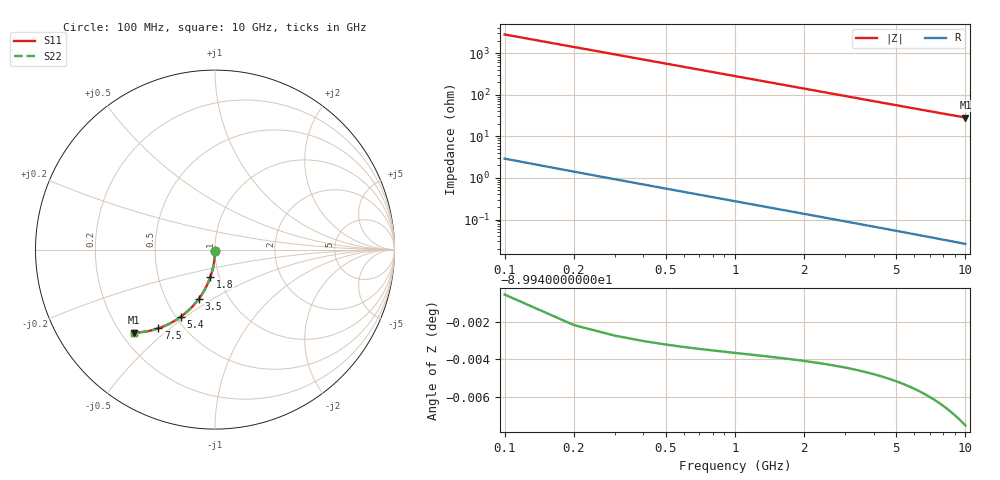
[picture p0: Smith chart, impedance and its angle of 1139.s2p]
# Hz S RI R 50.00
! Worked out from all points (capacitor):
!   100 points, 100 MHz to 10 GHz, reference 50 ohm
!   read as one part in shunt: C = 568 fF near 100 MHz
!   lowest |Z| = 28.3 ohm at 10 GHz (marker M1)
!   S11 on the Smith chart (normalised r, x): 100 MHz: 1.00, -0.02; 1.8 GHz: 0.91, -0.28; 3.5 GHz: 0.73, -0.43; 5.4 GHz: 0.53, -0.48; 7.5 GHz: 0.37, -0.46; 10 GHz: 0.25, -0.40
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1e8  -1.89e-05 -0.00859  0.9998 -0.00926  0.9998 -0.00926  -1.89e-05 -0.00859
2e8  -0.000266 -0.0172  0.9996 -0.0185  0.9996 -0.0185  -0.000266 -0.0172
3e8  -0.000672 -0.0258  0.9992 -0.0278  0.9992 -0.0278  -0.000672 -0.0258
4e8  -0.00124 -0.0343  0.9986 -0.037  0.9986 -0.037  -0.00124 -0.0343
5e8  -0.00196 -0.0429  0.9979 -0.0462  0.9979 -0.0462  -0.00196 -0.0429
6e8  -0.00284 -0.0514  0.997 -0.0554  0.997 -0.0554  -0.00284 -0.0514
8e8  -0.00507 -0.0684  0.9948 -0.0738  0.9948 -0.0738  -0.00507 -0.0684
1.1e9  -0.00958 -0.0937  0.9902 -0.101  0.9902 -0.101  -0.00958 -0.0937
1.4e9  -0.0154 -0.1185  0.9844 -0.1279  0.9844 -0.1279  -0.0154 -0.1185
1.8e9  -0.0253 -0.1509  0.9745 -0.163  0.9745 -0.163  -0.0253 -0.1509
2.1e9  -0.0342 -0.1744  0.9656 -0.1885  0.9656 -0.1885  -0.0342 -0.1744
2.5e9  -0.0478 -0.2047  0.9519 -0.2215  0.9519 -0.2215  -0.0478 -0.2047
2.9e9  -0.0633 -0.2336  0.9363 -0.2531  0.9363 -0.2531  -0.0633 -0.2336
3.4e9  -0.0852 -0.2674  0.9144 -0.2904  0.9144 -0.2904  -0.0852 -0.2674
3.5e9  -0.0898 -0.2739  0.9098 -0.2975  0.9098 -0.2975  -0.0898 -0.2739
4.3e9  -0.1299 -0.3215  0.8695 -0.3506  0.8695 -0.3506  -0.1299 -0.3215
5.1e9  -0.1741 -0.3617  0.8252 -0.3963  0.8252 -0.3963  -0.1741 -0.3617
5.4e9  -0.1913 -0.3748  0.8079 -0.4115  0.8079 -0.4115  -0.1913 -0.3748
6.7e9  -0.268 -0.4198  0.7308 -0.4657  0.7308 -0.4657  -0.268 -0.4198
7.5e9  -0.3153 -0.4387  0.6833 -0.4902  0.6833 -0.4902  -0.3153 -0.4387
8.4e9  -0.367 -0.4528  0.6311 -0.5107  0.6311 -0.5107  -0.367 -0.4528
1e10  -0.4529 -0.4626  0.5445 -0.5321  0.5445 -0.5321  -0.4529 -0.4626
